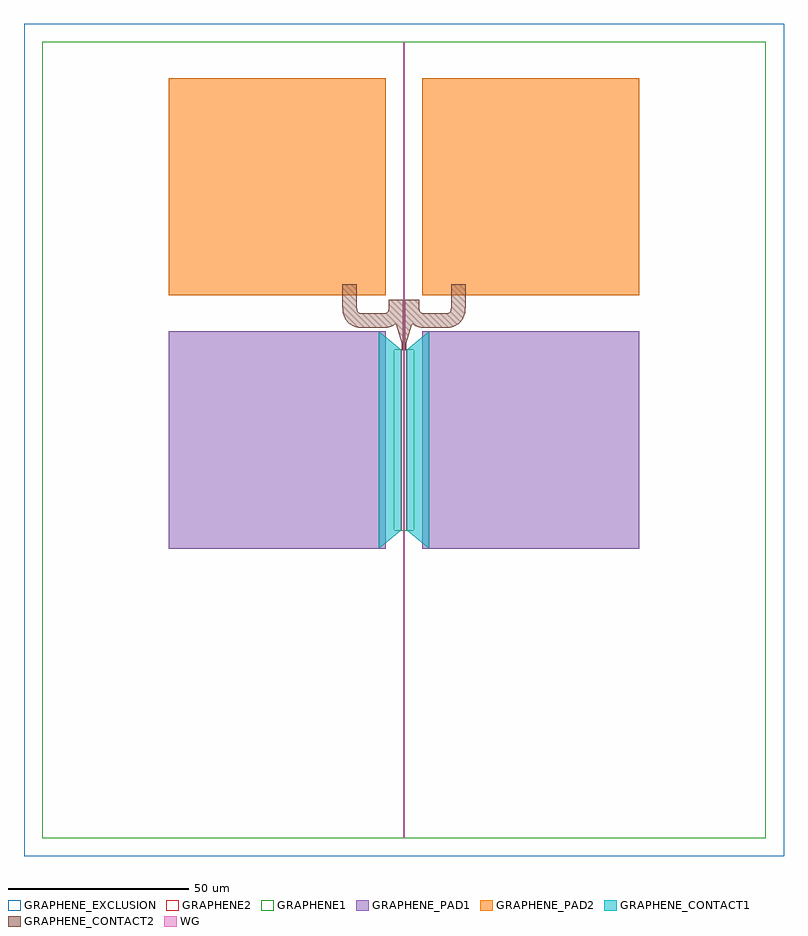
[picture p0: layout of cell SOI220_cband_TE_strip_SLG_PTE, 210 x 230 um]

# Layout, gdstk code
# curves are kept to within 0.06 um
import gdstk
lib = gdstk.Library(unit=1e-6, precision=1e-09)
def R(c, l, rs):  # rectangles x0, y0, x1, y1
    for r in rs: c.add(gdstk.rectangle(r[:2], r[2:], *l))
def P(c, l, *ps):  # polygons
    for p in ps: c.add(gdstk.Polygon(p, *l))
WG = (3, 0)
GRAPHENE1 = (161, 2)
GRAPHENE2 = (162, 2)
GRAPHENE_CONTACT1 = (163, 2)
GRAPHENE_CONTACT2 = (164, 2)
GRAPHENE_PAD1 = (165, 2)
GRAPHENE_PAD2 = (166, 2)
GRAPHENE_EXCLUSION = (169, 1)

soi220_cband_te_strip_sl = lib.new_cell('SOI220_cband_TE_strip_SLG_PTE')
R(soi220_cband_te_strip_sl, WG, [(-0.225,-110,0.225,110)])
P(soi220_cband_te_strip_sl, GRAPHENE1, [(-100,-110),(-100,25),(-2.75,25),(-2.75,-25),(2.75,-25),(2.75,25),(-100,25),(-100,110),(100,110),(100,-110)])
P(soi220_cband_te_strip_sl, GRAPHENE2, [(-100,-110),(-100,25),(-0.675,25),(-0.675,-25),(-0.25,-25),(-0.25,25),(0.25,25),(0.25,-25),(0.675,-25),(0.675,25),(-100,25),(-100,110),(100,110),(100,-110)])
P(soi220_cband_te_strip_sl, GRAPHENE_CONTACT1, [(7,-30),(0.75,-25),(0.75,25),(7,30)],
  [(-7,-30),(-7,30),(-0.75,25),(-0.75,-25)])
R(soi220_cband_te_strip_sl, GRAPHENE_CONTACT2, [(-0.675,24.8,-0.25,26.8), (0.25,24.8,0.675,26.8)])
P(soi220_cband_te_strip_sl, GRAPHENE_CONTACT2, [(-11.198,31),(-12.91,31.137),(-14.28,31.6),(-15.508,32.492),(-16.4,33.72),(-16.788,34.757),(-16.977,36.013),(-17,43),(-13,43),(-12.973,36.117),(-12.764,35.424),(-12.243,35.087),(-11.377,35.002),(-6.073,35),(-4.92,35.112),(-4.528,35.372),(-4.314,35.86),(-4.25,38.8),(-0.25,38.8),(-0.273,36.013),(-0.562,34.414),(-1.248,33.071),(-1.742,32.492),(-2.321,31.998),(-3.664,31.312),(-4.97,31.046)],
  [(-0.675,26.8),(-4.25,38.8),(-0.25,38.8),(-0.25,26.8)],
  [(0.25,26.8),(0.25,38.8),(4.25,38.8),(0.675,26.8)],
  [(6.052,31),(4.661,31.083),(3.315,31.441),(2.321,31.998),(1.742,32.492),(1.248,33.071),(0.691,34.065),(0.387,35.09),(0.259,36.292),(0.25,38.8),(4.25,38.8),(4.314,35.86),(4.528,35.372),(4.92,35.112),(6.073,35),(11.377,35.002),(12.243,35.087),(12.764,35.424),(12.973,36.117),(13,43),(17,43),(17,36.802),(16.917,35.411),(16.559,34.065),(15.766,32.772),(14.612,31.786),(13.935,31.441),(12.91,31.137),(11.445,31.003)])
R(soi220_cband_te_strip_sl, GRAPHENE_PAD1, [(-65,-30,-5,30), (5,-30,65,30)])
R(soi220_cband_te_strip_sl, GRAPHENE_PAD2, [(-65,40,-5,100), (5,40,65,100)])
R(soi220_cband_te_strip_sl, GRAPHENE_EXCLUSION, [(-105,-115,105,115)])

lib.write_gds('SOI220_cband_TE_strip_SLG_PTE.gds')
